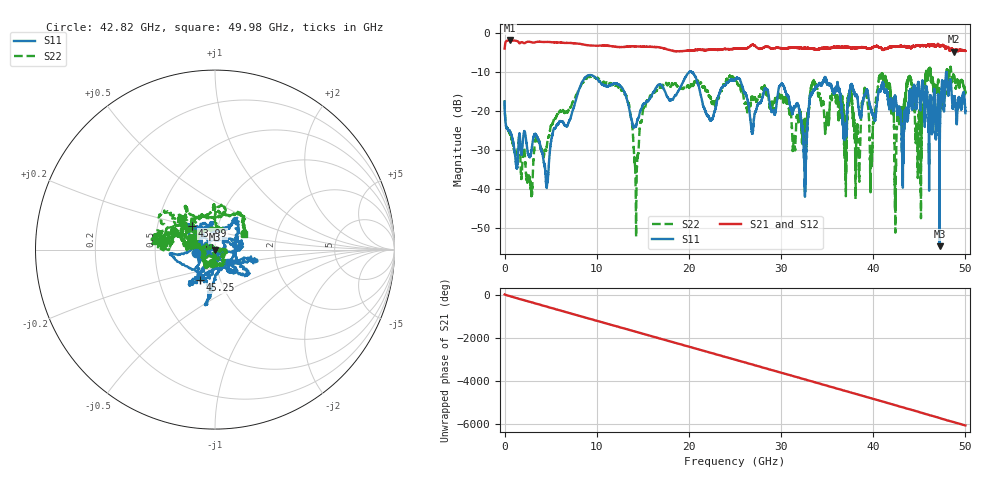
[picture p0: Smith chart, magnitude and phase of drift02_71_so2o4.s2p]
!Created with skrf (http://scikit-rf.org).
# Hz S RI R 50.0
!freq ReS11 ImS11 ReS21 ImS21 ReS12 ImS12 ReS22 ImS22
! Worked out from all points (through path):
!   10001 points, 300 kHz to 50 GHz, reference 50 ohm
!   highest |S21| = -2.00 dB at 610.3 MHz (marker M1); lowest = -4.8 dB at 48.77 GHz (marker M2)
!   group delay of S21, straight-line fit = 337 ps
!   lowest |S11| = -54.7 dB at 47.2 GHz (marker M3), VSWR 1.00, Z = 49.8 - j0.0433 ohm
!   |S11| at or under -10 dB: start of sweep to 20.07 GHz; 20.20538 GHz to 20.22477 GHz (19.39 MHz wide, 0.0959 % of centre); 20.24 GHz to end of sweep (the widest 3 of 4)
!   |S22| runs from -52.3 to -8.7 dB; largest |S21 - S12| = 0.034
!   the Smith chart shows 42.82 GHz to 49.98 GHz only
!   S11 on the Smith chart (normalised r, x): 42.82 GHz: 0.81, -0.03; 43.99 GHz: 0.75, +0.21; 45.25 GHz: 0.80, -0.28; 49.98 GHz: 1.16, -0.16
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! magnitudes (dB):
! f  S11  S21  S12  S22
! 300 kHz  -17.7  -4.1  -4.0  -17.3
! 610.3 MHz  -25.5  -2.0  -2.0  -26.3
! 4.575 GHz  -39.4  -2.4  -2.4  -29.1
! 8.335 GHz  -13.0  -2.9  -2.9  -13.2
! 13.01 GHz  -15.3  -3.6  -3.6  -15.7
! 14.28 GHz  -23.8  -3.5  -3.5  -49.6
! 16.67 GHz  -13.3  -3.7  -3.7  -14.5
! 25 GHz  -12.1  -4.1  -4.1  -12.2
! 26.86 GHz  -25.5  -3.1  -3.1  -16.5
! 30.19 GHz  -13.3  -4.0  -4.1  -16.9
! 32.56 GHz  -39.2  -3.9  -3.9  -23.6
! 33.34 GHz  -15.8  -4.0  -4.1  -13.5
! 37.5 GHz  -14.4  -3.8  -3.8  -16.6
! 38.29 GHz  -16.8  -3.9  -3.9  -23.6
! 41.67 GHz  -18.4  -3.8  -3.9  -13.0
! 42.82 GHz  -19.6  -3.5  -3.5  -22.4
! 43.99 GHz  -14.7  -3.7  -3.6  -11.2
! 45.25 GHz  -14.4  -3.3  -3.3  -24.3
! 47.2 GHz  -54.7  -3.4  -3.4  -17.4
! 48.77 GHz  -16.4  -4.8  -4.8  -10.8
! 49.98 GHz  -19.6  -4.6  -4.5  -14.9
! 50 GHz  -20.6  -4.7  -4.6  -15.3
